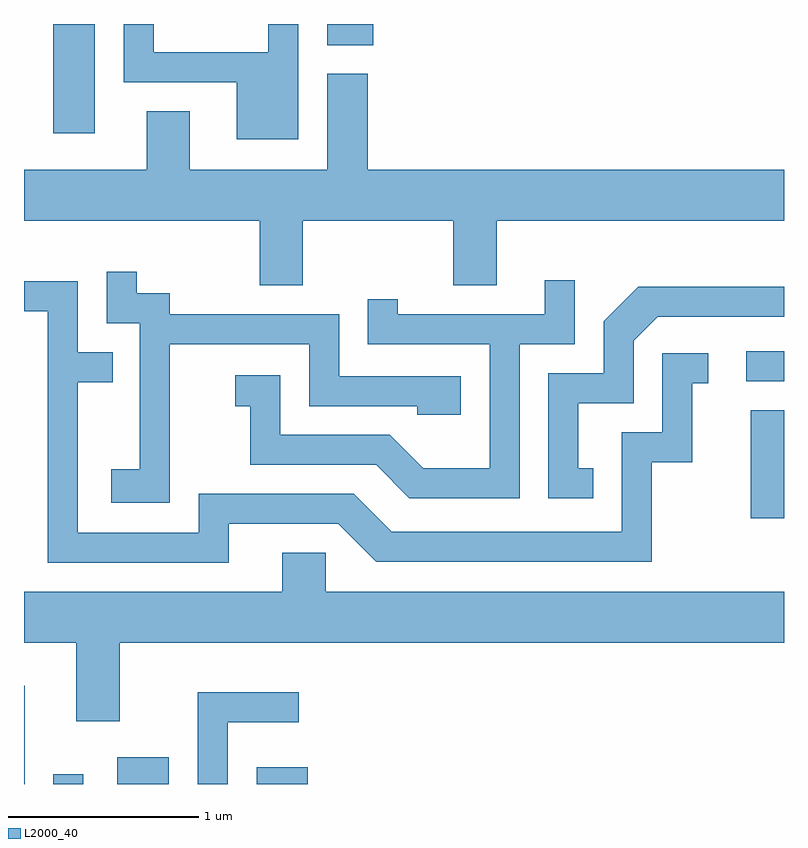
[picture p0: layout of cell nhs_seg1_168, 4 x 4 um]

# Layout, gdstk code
import gdstk
lib = gdstk.Library(unit=1e-6, precision=1e-09)
def R(c, l, rs):  # rectangles x0, y0, x1, y1
    for r in rs: c.add(gdstk.rectangle(r[:2], r[2:], *l))
def P(c, l, *ps):  # polygons
    for p in ps: c.add(gdstk.Polygon(p, *l))
L2000_40 = (2000, 40)

nhs_seg1_168 = lib.new_cell('nhs_seg1_168')
R(nhs_seg1_168, L2000_40, [(189.611,907.712,189.614,908.229), (189.766,907.712,189.924,907.763), (190.101,907.712,190.374,907.854), (190.836,907.712,191.104,907.799), (193.436,909.111,193.611,909.679), (193.413,909.831,193.611,909.989), (189.766,911.136,189.984,911.712), (191.206,911.601,191.449,911.712)])
P(nhs_seg1_168, L2000_40, [(191.054,911.712),(190.896,911.712),(190.896,911.564),(190.294,911.564),(190.294,911.712),(190.136,911.712),(190.136,911.406),(190.731,911.406),(190.731,911.106),(191.054,911.106)],
  [(191.079,910.676),(191.871,910.676),(191.871,910.336),(192.099,910.336),(192.099,910.676),(193.611,910.676),(193.611,910.944),(191.419,910.944),(191.419,911.449),(191.206,911.449),(191.206,910.944),(190.484,910.944),(190.484,911.254),(190.256,911.254),(190.256,910.944),(189.611,910.944),(189.611,910.676),(190.851,910.676),(190.851,910.336),(191.079,910.336)],
  [(190.379,910.026),(191.111,910.026),(191.111,909.701),(191.681,909.701),(191.681,909.656),(191.909,909.656),(191.909,909.859),(191.269,909.859),(191.269,910.184),(190.379,910.184),(190.379,910.294),(190.204,910.294),(190.204,910.408),(190.046,910.408),(190.046,910.136),(190.221,910.136),(190.221,909.369),(190.071,909.369),(190.071,909.191),(190.379,909.191)],
  [(192.219,910.026),(192.509,910.026),(192.509,910.363),(192.351,910.363),(192.351,910.184),(191.579,910.184),(191.579,910.263),(191.421,910.263),(191.421,910.026),(192.061,910.026),(192.061,909.374),(191.712,909.374),(191.537,909.549),(190.959,909.549),(190.959,909.864),(190.723,909.864),(190.723,909.701),(190.801,909.701),(190.801,909.391),(191.464,909.391),(191.639,909.216),(192.219,909.216)],
  [(190.689,909.081),(191.264,909.081),(191.464,908.881),(192.914,908.881),(192.914,909.406),(193.129,909.406),(193.129,909.821),(193.213,909.821),(193.213,909.979),(192.971,909.979),(192.971,909.564),(192.756,909.564),(192.756,909.039),(191.547,909.039),(191.347,909.239),(190.531,909.239),(190.531,909.034),(189.894,909.034),(189.894,909.826),(190.078,909.826),(190.078,909.984),(189.894,909.984),(189.894,910.359),(189.611,910.359),(189.611,910.201),(189.736,910.201),(189.736,908.876),(190.689,908.876)],
  [(192.608,909.374),(192.529,909.374),(192.529,909.716),(192.819,909.716),(192.819,910.044),(192.947,910.171),(193.611,910.171),(193.611,910.329),(192.844,910.329),(192.661,910.147),(192.661,909.874),(192.371,909.874),(192.371,909.216),(192.608,909.216)],
  [(190.114,908.456),(193.611,908.456),(193.611,908.724),(191.199,908.724),(191.199,908.929),(190.971,908.929),(190.971,908.724),(189.611,908.724),(189.611,908.456),(189.886,908.456),(189.886,908.041),(190.114,908.041)],
  [(190.684,908.036),(191.058,908.036),(191.058,908.194),(190.526,908.194),(190.526,907.712),(190.684,907.712)])

lib.write_gds('nhs_seg1_168.gds')
